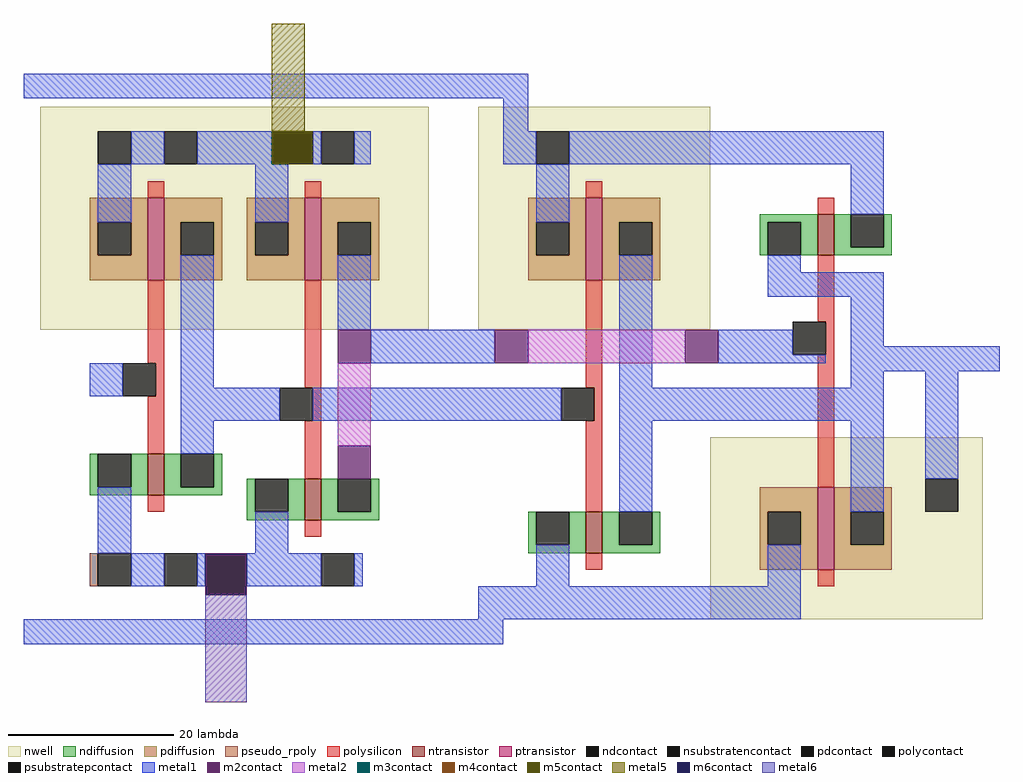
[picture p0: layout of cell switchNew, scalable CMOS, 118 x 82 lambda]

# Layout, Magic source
magic
tech scmos
<< nwell >>
rect 71 44 118 71
rect 124 44 152 71
rect 152 9 185 31
<< ntransistor >>
rect 165 53 167 58
rect 84 24 86 29
rect 103 21 105 26
rect 137 17 139 22
<< ptransistor >>
rect 84 50 86 60
rect 103 50 105 60
rect 137 50 139 60
rect 165 15 167 25
<< ndiffusion >>
rect 158 57 165 58
rect 158 53 159 57
rect 163 53 165 57
rect 167 54 169 58
rect 173 54 174 58
rect 167 53 174 54
rect 77 25 78 29
rect 82 25 84 29
rect 77 24 84 25
rect 86 25 88 29
rect 92 25 93 29
rect 86 24 93 25
rect 96 22 97 26
rect 101 22 103 26
rect 96 21 103 22
rect 105 22 107 26
rect 111 22 112 26
rect 105 21 112 22
rect 130 18 131 22
rect 135 18 137 22
rect 130 17 137 18
rect 139 18 141 22
rect 145 18 146 22
rect 139 17 146 18
<< pdiffusion >>
rect 77 57 84 60
rect 77 53 78 57
rect 82 53 84 57
rect 77 50 84 53
rect 86 57 93 60
rect 86 53 88 57
rect 92 53 93 57
rect 86 50 93 53
rect 96 57 103 60
rect 96 53 97 57
rect 101 53 103 57
rect 96 50 103 53
rect 105 57 112 60
rect 105 53 107 57
rect 111 53 112 57
rect 105 50 112 53
rect 130 57 137 60
rect 130 53 131 57
rect 135 53 137 57
rect 130 50 137 53
rect 139 57 146 60
rect 139 53 141 57
rect 145 53 146 57
rect 139 50 146 53
rect 158 22 165 25
rect 158 18 159 22
rect 163 18 165 22
rect 158 15 165 18
rect 167 22 174 25
rect 167 18 169 22
rect 173 18 174 22
rect 167 15 174 18
<< ndcontact >>
rect 159 53 163 57
rect 169 54 173 58
rect 78 25 82 29
rect 88 25 92 29
rect 97 22 101 26
rect 107 22 111 26
rect 131 18 135 22
rect 141 18 145 22
<< pdcontact >>
rect 78 53 82 57
rect 88 53 92 57
rect 97 53 101 57
rect 107 53 111 57
rect 131 53 135 57
rect 141 53 145 57
rect 159 18 163 22
rect 169 18 173 22
<< psubstratepcontact >>
rect 78 13 82 17
rect 86 13 90 17
rect 105 13 109 17
<< nsubstratencontact >>
rect 78 64 82 68
rect 86 64 90 68
rect 105 64 109 68
rect 131 64 135 68
rect 178 22 182 26
<< polysilicon >>
rect 84 60 86 62
rect 103 60 105 62
rect 137 60 139 62
rect 165 58 167 60
rect 84 40 86 50
rect 85 36 86 40
rect 103 37 105 50
rect 137 37 139 50
rect 165 45 167 53
rect 166 41 167 45
rect 84 29 86 36
rect 104 33 105 37
rect 138 33 139 37
rect 103 26 105 33
rect 84 22 86 24
rect 137 22 139 33
rect 165 25 167 41
rect 103 19 105 21
rect 137 15 139 17
rect 165 13 167 15
<< polycontact >>
rect 81 36 85 40
rect 162 41 166 45
rect 100 33 104 37
rect 134 33 138 37
<< metal1 >>
rect 69 72 130 75
rect 127 68 130 72
rect 82 64 86 68
rect 90 64 99 68
rect 104 64 105 68
rect 109 64 111 68
rect 127 64 131 68
rect 135 64 173 68
rect 78 57 82 64
rect 97 57 101 64
rect 131 57 135 64
rect 169 58 173 64
rect 77 36 81 40
rect 88 37 92 53
rect 107 44 111 53
rect 111 40 126 44
rect 141 37 145 53
rect 159 51 163 53
rect 159 48 173 51
rect 153 41 162 44
rect 153 40 166 41
rect 169 42 173 48
rect 169 39 187 42
rect 169 37 173 39
rect 88 33 100 37
rect 104 33 134 37
rect 141 33 173 37
rect 88 29 92 33
rect 78 17 82 25
rect 141 22 145 33
rect 169 22 173 33
rect 178 26 182 39
rect 97 17 101 22
rect 82 13 86 17
rect 90 13 91 17
rect 96 13 105 17
rect 109 13 110 17
rect 131 13 135 18
rect 159 13 163 18
rect 124 9 163 13
rect 69 6 127 9
<< m2contact >>
rect 99 64 104 68
rect 107 40 111 44
rect 126 40 130 44
rect 149 40 153 44
rect 107 26 111 30
rect 91 12 96 17
<< metal2 >>
rect 130 40 149 44
rect 107 30 111 40
<< m3contact >>
rect 99 64 104 68
rect 91 12 96 17
<< m4contact >>
rect 99 64 104 68
rect 91 12 96 17
<< m5contact >>
rect 99 64 104 68
rect 91 12 96 17
<< metal5 >>
rect 99 68 103 81
<< m6contact >>
rect 91 12 96 17
<< metal6 >>
rect 91 -1 96 12
<< pseudo_rpoly >>
rect 77 13 78 17
<< end >>
